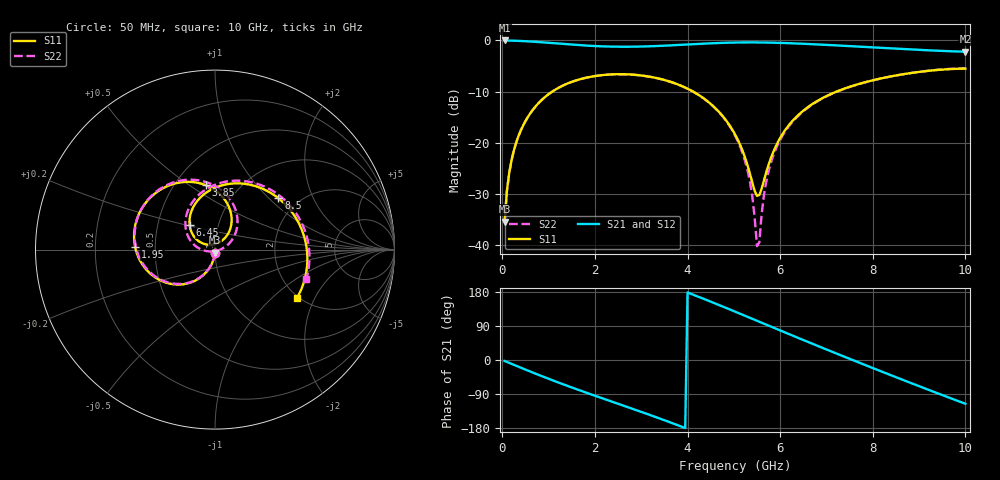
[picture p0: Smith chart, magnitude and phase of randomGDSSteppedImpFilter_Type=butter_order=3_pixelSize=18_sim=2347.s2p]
! freq	dB(S11)	phase(S11)	dB(S12)	phase(S12)
!  dB(S21)	phase(S21)	dB(S22)	phase(S22)
!S-par simulation data
#  GHz  S  DB  R 50
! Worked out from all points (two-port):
!   200 points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, 50 MHz to 10 GHz, reference 50 ohm
!   highest |S21| = 0.00 dB at 50 MHz (marker M1); lowest = -2.2 dB at 10 GHz (marker M2)
!   |S21| within 3 dB of the highest: start of sweep to end of sweep
!   lowest |S11| = -35.4 dB at 50 MHz (marker M3), VSWR 1.03, Z = 49.9 - j1.7 ohm
!   |S11| at or under -10 dB: start of sweep to 1.078 GHz; 4.121 GHz to 7.217 GHz (3.096 GHz wide, 54.6 % of centre)
!   |S22| runs from -40.2 to -5.4 dB; largest |S21 - S12| = 0
!   S11 on the Smith chart (normalised r, x): 50 MHz: 1.00, -0.03; 1.95 GHz: 0.38, +0.01; 3.85 GHz: 0.70, +0.58; 6.45 GHz: 0.73, +0.21; 8.5 GHz: 1.59, +1.14; 10 GHz: 1.94, -1.47
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0.05  -35.38 -92.5  -0.00 -2.6  -0.00 -2.6  -35.38 -92.6
0.1  -29.37 -95.2  -0.01 -5.2  -0.01 -5.2  -29.37 -95.3
0.2  -23.40 -100.5  -0.04 -10.2  -0.04 -10.2  -23.40 -100.7
0.5  -15.76 -115.7  -0.15 -25.3  -0.15 -25.3  -15.76 -116.2
1.1  -9.87 -144.2  -0.54 -54.3  -0.54 -54.3  -9.87 -145.4
1.75  -7.41 -173.1  -0.97 -83.5  -0.97 -83.5  -7.42 -175.0
1.95  -7.04 178.3  -1.08 -92.1  -1.08 -92.1  -7.04 176.2
3.4  -7.49 117.7  -1.07 -154.4  -1.07 -154.4  -7.50 113.0
3.85  -8.81 98.2  -0.87 -174.9  -0.87 -174.9  -8.82 92.2
4.45  -12.02 72.1  -0.58 156.5  -0.58 156.5  -12.04 62.8
5.05  -18.77 50.6  -0.41 126.5  -0.41 126.5  -18.98 30.5
5.35  -26.10 57.7  -0.38 111.2  -0.38 111.2  -27.72 7.8
5.5  -30.38 95.1  -0.39 103.5  -0.39 103.5  -40.20 -48.7
5.55  -30.20 114.5  -0.39 101.0  -0.39 101.0  -39.45 -119.7
5.8  -22.98 152.5  -0.43 88.2  -0.43 88.2  -23.88 -176.3
6.45  -14.10 135.8  -0.63 55.2  -0.63 55.2  -14.22 146.1
6.7  -12.40 124.7  -0.73 42.7  -0.73 42.7  -12.49 133.4
7.5  -9.06 86.9  -1.11 3.1  -1.11 3.1  -9.10 94.2
8.35  -7.10 46.1  -1.52 -38.2  -1.52 -38.2  -7.11 54.6
8.5  -6.84 39.0  -1.60 -45.4  -1.60 -45.4  -6.85 47.7
9.25  -5.89 3.6  -1.95 -80.9  -1.95 -80.9  -5.87 14.4
10  -5.51 -30.8  -2.20 -115.6  -2.20 -115.6  -5.45 -18.0
